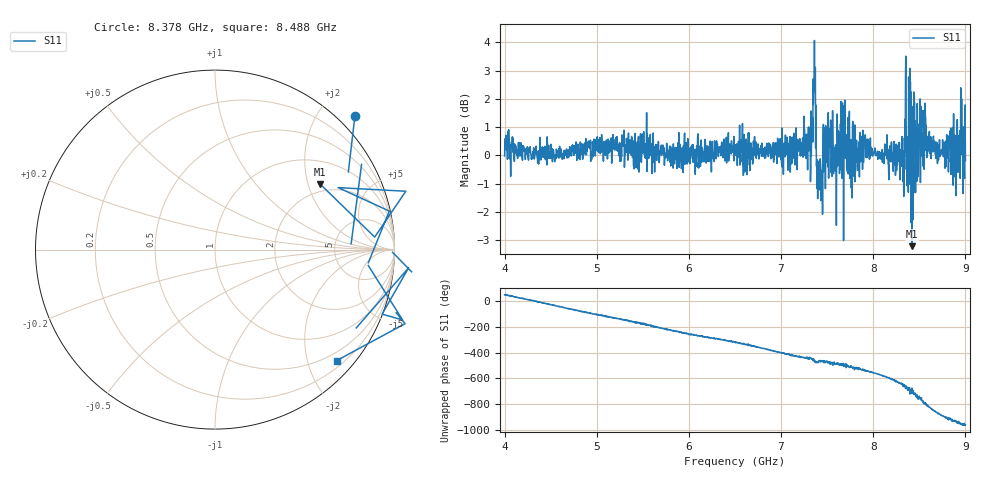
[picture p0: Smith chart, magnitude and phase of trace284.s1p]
! Created with skrf 1.8.0 (http://scikit-rf.org).
# Hz S RI R 50.0
!freq ReS11 ImS11
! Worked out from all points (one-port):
!   1601 points, 4 GHz to 9 GHz, reference 50 ohm
!   lowest |S11| = -3.2 dB at 8.422 GHz (marker M1), VSWR 5.46, Z = 85.8 + j120 ohm
!   |S11| at or under -10 dB: nowhere
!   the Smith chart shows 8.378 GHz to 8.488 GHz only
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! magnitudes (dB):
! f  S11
! 4 GHz  0.0
! 4.625 GHz  -0.1
! 5.25 GHz  -0.2
! 5.875 GHz  -0.1
! 6.5 GHz  0.1
! 7.125 GHz  0.2
! 7.297 GHz  1.0
! 7.319 GHz  -0.9
! 7.356 GHz  2.2
! 7.372 GHz  3.1
! 7.4 GHz  -0.8
! 7.416 GHz  -1.1
! 7.512 GHz  1.5
! 7.591 GHz  0.4
! 7.65 GHz  1.9
! 7.75 GHz  0.0
! 7.928 GHz  0.3
! 8.316 GHz  0.1
! 8.331 GHz  -1.5
! 8.375 GHz  0.0
! 8.422 GHz  -3.2
! 8.438 GHz  -1.3
! 8.459 GHz  -1.3
! 8.553 GHz  -0.5
! 8.684 GHz  0.5
! 8.875 GHz  -0.5
! 8.947 GHz  0.4
! 9 GHz  -0.2
